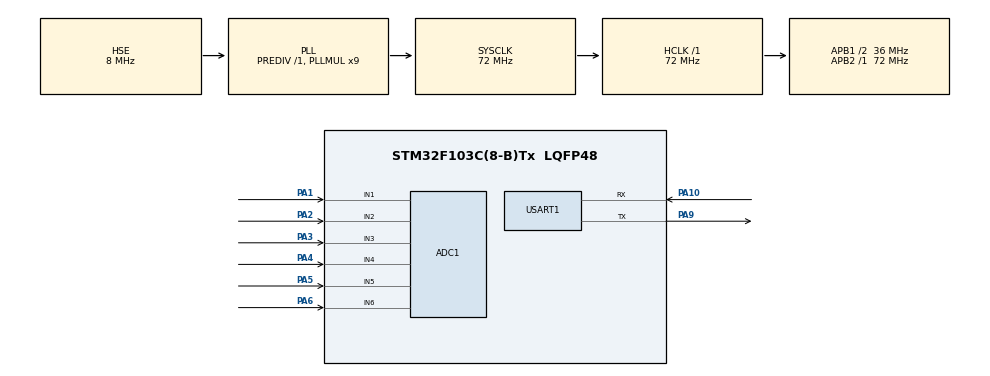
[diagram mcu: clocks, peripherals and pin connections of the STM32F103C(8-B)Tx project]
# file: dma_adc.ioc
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ADC1.Channel-0\#ChannelRegularConversion=ADC_CHANNEL_1
ADC1.Channel-1\#ChannelRegularConversion=ADC_CHANNEL_1
ADC1.Channel-2\#ChannelRegularConversion=ADC_CHANNEL_1
ADC1.Channel-3\#ChannelRegularConversion=ADC_CHANNEL_1
ADC1.Channel-4\#ChannelRegularConversion=ADC_CHANNEL_1
ADC1.Channel-5\#ChannelRegularConversion=ADC_CHANNEL_1
ADC1.ContinuousConvMode=ENABLE
ADC1.NbrOfConversion=6
ADC1.NbrOfConversionFlag=1
ADC1.Rank-0\#ChannelRegularConversion=1
ADC1.Rank-1\#ChannelRegularConversion=2
ADC1.Rank-2\#ChannelRegularConversion=3
ADC1.Rank-3\#ChannelRegularConversion=4
ADC1.Rank-4\#ChannelRegularConversion=5
ADC1.Rank-5\#ChannelRegularConversion=6
ADC1.SamplingTime-0\#ChannelRegularConversion=ADC_SAMPLETIME_1CYCLE_5
ADC1.SamplingTime-1\#ChannelRegularConversion=ADC_SAMPLETIME_1CYCLE_5
ADC1.SamplingTime-2\#ChannelRegularConversion=ADC_SAMPLETIME_1CYCLE_5
ADC1.SamplingTime-3\#ChannelRegularConversion=ADC_SAMPLETIME_1CYCLE_5
ADC1.SamplingTime-4\#ChannelRegularConversion=ADC_SAMPLETIME_1CYCLE_5
ADC1.SamplingTime-5\#ChannelRegularConversion=ADC_SAMPLETIME_1CYCLE_5
ADC1.master=1
Dma.ADC1.0.Direction=DMA_PERIPH_TO_MEMORY
Dma.ADC1.0.Instance=DMA1_Channel1
Dma.ADC1.0.MemDataAlignment=DMA_MDATAALIGN_WORD
Dma.ADC1.0.MemInc=DMA_MINC_ENABLE
Dma.ADC1.0.Mode=DMA_CIRCULAR
Dma.ADC1.0.PeriphDataAlignment=DMA_PDATAALIGN_WORD
Dma.ADC1.0.PeriphInc=DMA_PINC_DISABLE
Dma.ADC1.0.Priority=DMA_PRIORITY_LOW
Dma.Request0=ADC1
Mcu.Family=STM32F1
Mcu.Name=STM32F103C(8-B)Tx
Mcu.Package=LQFP48
NVIC.DMA1_Channel1_IRQn=true\:0\:0\:false\:false\:true\:false\:true
NVIC.PriorityGroup=NVIC_PRIORITYGROUP_4
PA1.Signal=ADCx_IN1
PA10.Mode=Asynchronous
PA10.Signal=USART1_RX
PA13.Mode=Serial_Wire
PA13.Signal=SYS_JTMS-SWDIO
PA14.Mode=Serial_Wire
PA14.Signal=SYS_JTCK-SWCLK
PA2.Signal=ADCx_IN2
PA3.Signal=ADCx_IN3
PA4.Signal=ADCx_IN4
PA5.Signal=ADCx_IN5
PA6.Signal=ADCx_IN6
PA9.Mode=Asynchronous
PA9.Signal=USART1_TX
PD0-OSC_IN.Mode=HSE-External-Oscillator
PD0-OSC_IN.Signal=RCC_OSC_IN
PD1-OSC_OUT.Mode=HSE-External-Oscillator
PD1-OSC_OUT.Signal=RCC_OSC_OUT
ProjectManager.HeapSize=0x200
ProjectManager.StackSize=0x400
ProjectManager.TargetToolchain=STM32CubeIDE
RCC.ADCPresc=RCC_ADCPCLK2_DIV6
RCC.AHBFreq_Value=72000000
RCC.APB1CLKDivider=RCC_HCLK_DIV2
RCC.APB1Freq_Value=36000000
RCC.APB1TimFreq_Value=72000000
RCC.APB2Freq_Value=72000000
RCC.APB2TimFreq_Value=72000000
RCC.HCLKFreq_Value=72000000
RCC.PLLMUL=RCC_PLL_MUL9
RCC.PLLSourceVirtual=RCC_PLLSOURCE_HSE
RCC.SYSCLKFreq_VALUE=72000000
RCC.SYSCLKSource=RCC_SYSCLKSOURCE_PLLCLK
RCC.USBFreq_Value=72000000
SH.ADCx_IN1.0=ADC1_IN1,IN1
SH.ADCx_IN2.0=ADC1_IN2,IN2
SH.ADCx_IN3.0=ADC1_IN3,IN3
SH.ADCx_IN4.0=ADC1_IN4,IN4
SH.ADCx_IN5.0=ADC1_IN5,IN5
SH.ADCx_IN6.0=ADC1_IN6,IN6
USART1.VirtualMode=VM_ASYNC
board=custom

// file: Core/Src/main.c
/* USER CODE BEGIN Header */
/**
 ******************************************************************************
 * @file           : main.c
 * @brief          : Main program body
 ******************************************************************************
 * @attention
 *
 * Copyright (c) 2022 STMicroelectronics.
 * All rights reserved.
 *
 * This software is licensed under terms that can be found in the LICENSE file
 * in the root directory of this software component.
 * If no LICENSE file comes with this software, it is provided AS-IS.
 *
 ******************************************************************************
 */
/* USER CODE END Header */
#include "main.h"
#include "string.h"
#include "stdio.h"
/* USER CODE BEGIN Includes */
uint8_t ADC_FLAG;
#define TRUE 1
#define FALSE 0
#define ADC_BUFLEN 7
uint32_t adcBuf[ADC_BUFLEN];
/* USER CODE END Includes */

/* USER CODE BEGIN PTD */
uint32_t data[6];
uint32_t adcbuffer[6];

char yazi1[32] = " ";
char yazi2[32] = " ";
char yazi3[32] = " ";
char yazi4[32] = " ";
char yazi5[32] = " ";
char yazi6[32] = " ";

/* USER CODE END PTD */

ADC_HandleTypeDef hadc1;
DMA_HandleTypeDef hdma_adc1;

UART_HandleTypeDef huart1;

void SystemClock_Config(void);
static void MX_GPIO_Init(void);
static void MX_DMA_Init(void);
static void MX_ADC1_Init(void);
static void MX_USART1_UART_Init(void);

int main(void) {
	/* USER CODE BEGIN 1 */
	int i;
	char msgbuf[256];
	/* USER CODE END 1 */

	/* MCU Configuration--------------------------------------------------------*/

	/* Reset of all peripherals, Initializes the Flash interface and the Systick. */
	HAL_Init();

	/* Configure the system clock */
	SystemClock_Config();

	/* Initialize all configured peripherals */
	MX_GPIO_Init();
	MX_DMA_Init();
	MX_ADC1_Init();
	MX_USART1_UART_Init();
	/* USER CODE BEGIN 2 */
	i = 0;
	ADC_FLAG = FALSE;
//	HAL_ADC_Start_DMA(&hadc1, adcbuffer, 6);
	HAL_ADC_Start_DMA(&hadc1, adcBuf, ADC_BUFLEN);
	/* USER CODE END 2 */
	HAL_UART_Transmit(&huart1, "hello", 7, HAL_MAX_DELAY);
	/* Infinite loop */
	while (1) {
		if (ADC_FLAG == TRUE) {
			ADC_FLAG = FALSE;
			++i;
//			LED_ON();
			/*sprintf(msgbuf,
			 "ADC1=%d, ADC2=%d, ADC3=%d,ADC4=%d, ADC5=%d, ADC6=%d, \r\n",
			 (int) data[0], (int) data[1], (int) data[2], (int) data[3],
			 (int) data[4], (int) data[5]);
			 HAL_UART_Transmit(&huart1, msgbuf, strlen(msgbuf), HAL_MAX_DELAY);*/
			sprintf(msgbuf,
					"%d: ADC1=%d, ADC2=%d, ADC3=%d,ADC4=%d, ADC5=%d, ADC6=%d, \r\n",
					i, (int) adcBuf[0], (int) adcBuf[1], (int) adcBuf[2],
					(int) adcBuf[3], (int) adcBuf[4], (int) adcBuf[5]);
			HAL_UART_Transmit(&huart1, msgbuf, strlen(msgbuf), HAL_MAX_DELAY);

		}
//sprintf(yazi1,"ADC1:%d\t",data[0]);    /* USER CODE BEGIN 3 */

	}
	/* USER CODE END 3 */
}

void SystemClock_Config(void) {
	RCC_OscInitTypeDef RCC_OscInitStruct = { 0 };
	RCC_ClkInitTypeDef RCC_ClkInitStruct = { 0 };
	RCC_PeriphCLKInitTypeDef PeriphClkInit = { 0 };

	/** Initializes the RCC Oscillators according to the specified parameters
	 * in the RCC_OscInitTypeDef structure.
	 */
	RCC_OscInitStruct.OscillatorType = RCC_OSCILLATORTYPE_HSE;
	RCC_OscInitStruct.HSEState = RCC_HSE_ON;
	RCC_OscInitStruct.HSEPredivValue = RCC_HSE_PREDIV_DIV1;
	RCC_OscInitStruct.HSIState = RCC_HSI_ON;
	RCC_OscInitStruct.PLL.PLLState = RCC_PLL_ON;
	RCC_OscInitStruct.PLL.PLLSource = RCC_PLLSOURCE_HSE;
	RCC_OscInitStruct.PLL.PLLMUL = RCC_PLL_MUL9;
	if (HAL_RCC_OscConfig(&RCC_OscInitStruct) != HAL_OK) {
		Error_Handler();
	}
	/** Initializes the CPU, AHB and APB buses clocks
	 */
	RCC_ClkInitStruct.ClockType = RCC_CLOCKTYPE_HCLK | RCC_CLOCKTYPE_SYSCLK
			| RCC_CLOCKTYPE_PCLK1 | RCC_CLOCKTYPE_PCLK2;
	RCC_ClkInitStruct.SYSCLKSource = RCC_SYSCLKSOURCE_PLLCLK;
	RCC_ClkInitStruct.AHBCLKDivider = RCC_SYSCLK_DIV1;
	RCC_ClkInitStruct.APB1CLKDivider = RCC_HCLK_DIV2;
	RCC_ClkInitStruct.APB2CLKDivider = RCC_HCLK_DIV1;

	if (HAL_RCC_ClockConfig(&RCC_ClkInitStruct, FLASH_LATENCY_2) != HAL_OK) {
		Error_Handler();
	}
	PeriphClkInit.PeriphClockSelection = RCC_PERIPHCLK_ADC;
	PeriphClkInit.AdcClockSelection = RCC_ADCPCLK2_DIV6;
	if (HAL_RCCEx_PeriphCLKConfig(&PeriphClkInit) != HAL_OK) {
		Error_Handler();
	}
}

static void MX_ADC1_Init(void) {

	ADC_ChannelConfTypeDef sConfig = { 0 };

	/** Common config
	 */
	hadc1.Instance = ADC1;
	hadc1.Init.ScanConvMode = ADC_SCAN_ENABLE;
	hadc1.Init.ContinuousConvMode = ENABLE;
	hadc1.Init.DiscontinuousConvMode = DISABLE;
	hadc1.Init.ExternalTrigConv = ADC_SOFTWARE_START;
	hadc1.Init.DataAlign = ADC_DATAALIGN_RIGHT;
	hadc1.Init.NbrOfConversion = 6;
	if (HAL_ADC_Init(&hadc1) != HAL_OK) {
		Error_Handler();
	}
	/** Configure Regular Channel
	 */
	sConfig.Channel = ADC_CHANNEL_1;
	sConfig.Rank = ADC_REGULAR_RANK_1;
	sConfig.SamplingTime = ADC_SAMPLETIME_1CYCLE_5;
	if (HAL_ADC_ConfigChannel(&hadc1, &sConfig) != HAL_OK) {
		Error_Handler();
	}
	/** Configure Regular Channel
	 */
	sConfig.Rank = ADC_REGULAR_RANK_2;
	if (HAL_ADC_ConfigChannel(&hadc1, &sConfig) != HAL_OK) {
		Error_Handler();
	}
	/** Configure Regular Channel
	 */
	sConfig.Rank = ADC_REGULAR_RANK_3;
	if (HAL_ADC_ConfigChannel(&hadc1, &sConfig) != HAL_OK) {
		Error_Handler();
	}
	/** Configure Regular Channel
	 */
	sConfig.Rank = ADC_REGULAR_RANK_4;
	if (HAL_ADC_ConfigChannel(&hadc1, &sConfig) != HAL_OK) {
		Error_Handler();
	}
	/** Configure Regular Channel
	 */
	sConfig.Rank = ADC_REGULAR_RANK_5;
	if (HAL_ADC_ConfigChannel(&hadc1, &sConfig) != HAL_OK) {
		Error_Handler();
	}
	/** Configure Regular Channel
	 */
	sConfig.Rank = ADC_REGULAR_RANK_6;
	if (HAL_ADC_ConfigChannel(&hadc1, &sConfig) != HAL_OK) {
		Error_Handler();
	}

}
void HAL_ADC_ConvCpltCallback(ADC_HandleTypeDef *hadc) {
	/*if (hadc->Instance == ADC1) {
	 data[0] = adcbuffer[0];
	 data[1] = adcbuffer[1];
	 data[2] = adcbuffer[2];
	 data[3] = adcbuffer[3];
	 data[4] = adcbuffer[4];
	 data[5] = adcbuffer[5];
	 direction = !(__HAL_TIM_IS_TIM_COUNTING_DOWN(&htim2));
			sprintf(MSG, "Encoder Ticks = %d, adc=%d\n\r", ((TIM2->CNT)>>2),(int) adc_val);
			            HAL_UART_Transmit(&huart1, MSG, sizeof(MSG), 100);
	 }*/

	ADC_FLAG = TRUE;

}
static void MX_USART1_UART_Init(void) {

	huart1.Instance = USART1;
	huart1.Init.BaudRate = 115200;
	huart1.Init.WordLength = UART_WORDLENGTH_8B;
	huart1.Init.StopBits = UART_STOPBITS_1;
	huart1.Init.Parity = UART_PARITY_NONE;
	huart1.Init.Mode = UART_MODE_TX_RX;
	huart1.Init.HwFlowCtl = UART_HWCONTROL_NONE;
	huart1.Init.OverSampling = UART_OVERSAMPLING_16;
	if (HAL_UART_Init(&huart1) != HAL_OK) {
		Error_Handler();
	}

}

static void MX_DMA_Init(void) {

	/* DMA controller clock enable */
	__HAL_RCC_DMA1_CLK_ENABLE();

	/* DMA interrupt init */
	/* DMA1_Channel1_IRQn interrupt configuration */
	HAL_NVIC_SetPriority(DMA1_Channel1_IRQn, 0, 0);
	HAL_NVIC_EnableIRQ(DMA1_Channel1_IRQn);

}

static void MX_GPIO_Init(void) {

	/* GPIO Ports Clock Enable */
	__HAL_RCC_GPIOD_CLK_ENABLE();
	__HAL_RCC_GPIOA_CLK_ENABLE();

}

void Error_Handler(void) {
	__disable_irq();
	while (1) {
	}
}
